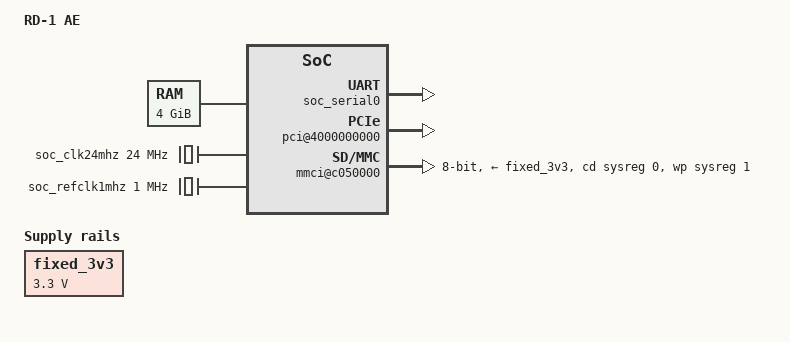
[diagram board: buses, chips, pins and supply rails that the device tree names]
/*
 * Copyright (c) 2024, Arm Limited. All rights reserved.
 *
 * SPDX-License-Identifier: BSD-3-Clause
 */

/dts-v1/;

#include <dt-bindings/interrupt-controller/arm-gic.h>

/ {
	model = "RD-1 AE";
	compatible = "arm,rd1ae", "arm,neoverse";
	interrupt-parent = <&gic>;
	#address-cells = <2>;
	#size-cells = <2>;

	chosen {
		stdout-path = &soc_serial0;
	};

	cpus {
		#address-cells = <2>;
		#size-cells = <0>;

		cpu0: cpu@0 {
			device_type = "cpu";
			compatible = "arm,neoverse-v3";
			reg = <0x0 0x0>;
			enable-method = "psci";
			i-cache-size = <0x10000>;
			i-cache-line-size = <0x40>;
			i-cache-sets = <0x100>;
			d-cache-size = <0x10000>;
			d-cache-line-size = <0x40>;
			d-cache-sets = <0x100>;
		};
		cpu1: cpu@10000 {
			device_type = "cpu";
			compatible = "arm,neoverse-v3";
			reg = <0x0 0x10000>;
			enable-method = "psci";
			i-cache-size = <0x10000>;
			i-cache-line-size = <0x40>;
			i-cache-sets = <0x100>;
			d-cache-size = <0x10000>;
			d-cache-line-size = <0x40>;
			d-cache-sets = <0x100>;
		};
		cpu2: cpu@20000 {
			device_type = "cpu";
			compatible = "arm,neoverse-v3";
			reg = <0x0 0x20000>;
			enable-method = "psci";
			i-cache-size = <0x10000>;
			i-cache-line-size = <0x40>;
			i-cache-sets = <0x100>;
			d-cache-size = <0x10000>;
			d-cache-line-size = <0x40>;
			d-cache-sets = <0x100>;
		};
		cpu3: cpu@30000 {
			device_type = "cpu";
			compatible = "arm,neoverse-v3";
			reg = <0x0 0x30000>;
			enable-method = "psci";
			i-cache-size = <0x10000>;
			i-cache-line-size = <0x40>;
			i-cache-sets = <0x100>;
			d-cache-size = <0x10000>;
			d-cache-line-size = <0x40>;
			d-cache-sets = <0x100>;
		};
		cpu4: cpu@40000 {
			device_type = "cpu";
			compatible = "arm,neoverse-v3";
			reg = <0x0 0x40000>;
			enable-method = "psci";
			i-cache-size = <0x10000>;
			i-cache-line-size = <0x40>;
			i-cache-sets = <0x100>;
			d-cache-size = <0x10000>;
			d-cache-line-size = <0x40>;
			d-cache-sets = <0x100>;
		};
		cpu5: cpu@50000 {
			device_type = "cpu";
			compatible = "arm,neoverse-v3";
			reg = <0x0 0x50000>;
			enable-method = "psci";
			i-cache-size = <0x10000>;
			i-cache-line-size = <0x40>;
			i-cache-sets = <0x100>;
			d-cache-size = <0x10000>;
			d-cache-line-size = <0x40>;
			d-cache-sets = <0x100>;
		};
		cpu6: cpu@60000 {
			device_type = "cpu";
			compatible = "arm,neoverse-v3";
			reg = <0x0 0x60000>;
			enable-method = "psci";
			i-cache-size = <0x10000>;
			i-cache-line-size = <0x40>;
			i-cache-sets = <0x100>;
			d-cache-size = <0x10000>;
			d-cache-line-size = <0x40>;
			d-cache-sets = <0x100>;
		};
		cpu7: cpu@70000 {
			device_type = "cpu";
			compatible = "arm,neoverse-v3";
			reg = <0x0 0x70000>;
			enable-method = "psci";
			i-cache-size = <0x10000>;
			i-cache-line-size = <0x40>;
			i-cache-sets = <0x100>;
			d-cache-size = <0x10000>;
			d-cache-line-size = <0x40>;
			d-cache-sets = <0x100>;
		};
		cpu8: cpu@80000 {
			device_type = "cpu";
			compatible = "arm,neoverse-v3";
			reg = <0x0 0x80000>;
			enable-method = "psci";
			i-cache-size = <0x10000>;
			i-cache-line-size = <0x40>;
			i-cache-sets = <0x100>;
			d-cache-size = <0x10000>;
			d-cache-line-size = <0x40>;
			d-cache-sets = <0x100>;
		};
		cpu9: cpu@90000 {
			device_type = "cpu";
			compatible = "arm,neoverse-v3";
			reg = <0x0 0x90000>;
			enable-method = "psci";
			i-cache-size = <0x10000>;
			i-cache-line-size = <0x40>;
			i-cache-sets = <0x100>;
			d-cache-size = <0x10000>;
			d-cache-line-size = <0x40>;
			d-cache-sets = <0x100>;
		};
		cpu10: cpu@a0000 {
			device_type = "cpu";
			compatible = "arm,neoverse-v3";
			reg = <0x0 0xa0000>;
			enable-method = "psci";
			i-cache-size = <0x10000>;
			i-cache-line-size = <0x40>;
			i-cache-sets = <0x100>;
			d-cache-size = <0x10000>;
			d-cache-line-size = <0x40>;
			d-cache-sets = <0x100>;
		};
		cpu11: cpu@b0000 {
			device_type = "cpu";
			compatible = "arm,neoverse-v3";
			reg = <0x0 0xb0000>;
			enable-method = "psci";
			i-cache-size = <0x10000>;
			i-cache-line-size = <0x40>;
			i-cache-sets = <0x100>;
			d-cache-size = <0x10000>;
			d-cache-line-size = <0x40>;
			d-cache-sets = <0x100>;
		};
		cpu12: cpu@c0000 {
			device_type = "cpu";
			compatible = "arm,neoverse-v3";
			reg = <0x0 0xc0000>;
			enable-method = "psci";
			i-cache-size = <0x10000>;
			i-cache-line-size = <0x40>;
			i-cache-sets = <0x100>;
			d-cache-size = <0x10000>;
			d-cache-line-size = <0x40>;
			d-cache-sets = <0x100>;
		};
		cpu13: cpu@d0000 {
			device_type = "cpu";
			compatible = "arm,neoverse-v3";
			reg = <0x0 0xd0000>;
			enable-method = "psci";
			i-cache-size = <0x10000>;
			i-cache-line-size = <0x40>;
			i-cache-sets = <0x100>;
			d-cache-size = <0x10000>;
			d-cache-line-size = <0x40>;
			d-cache-sets = <0x100>;
		};
		cpu14: cpu@e0000 {
			device_type = "cpu";
			compatible = "arm,neoverse-v3";
			reg = <0x0 0xe0000>;
			enable-method = "psci";
			i-cache-size = <0x10000>;
			i-cache-line-size = <0x40>;
			i-cache-sets = <0x100>;
			d-cache-size = <0x10000>;
			d-cache-line-size = <0x40>;
			d-cache-sets = <0x100>;
		};
		cpu15: cpu@f0000 {
			device_type = "cpu";
			compatible = "arm,neoverse-v3";
			reg = <0x0 0xf0000>;
			enable-method = "psci";
			i-cache-size = <0x10000>;
			i-cache-line-size = <0x40>;
			i-cache-sets = <0x100>;
			d-cache-size = <0x10000>;
			d-cache-line-size = <0x40>;
			d-cache-sets = <0x100>;
		};
	};

	memory@80000000 {
		device_type = "memory";
		/*
		 * 0x7fc0 0000 - 0x7fff ffff : BL32
		 * 0x7fbf 0000 - 0x7fbf ffff : FFA_SHARED_MM_BUF
		 */
		reg = <0x00000000 0x80000000 0 0x7fbf0000>,
			  <0x00000080 0x80000000 0 0x80000000>;
	};

	timer {
		compatible = "arm,armv8-timer";
		interrupts = <GIC_PPI 13 IRQ_TYPE_LEVEL_LOW>,
			<GIC_PPI 14 IRQ_TYPE_LEVEL_LOW>,
			<GIC_PPI 11 IRQ_TYPE_LEVEL_LOW>,
			<GIC_PPI 10 IRQ_TYPE_LEVEL_LOW>;
	};

	soc_clk24mhz: clk24mhz {
		compatible = "fixed-clock";
		#clock-cells = <0>;
		clock-frequency = <24000000>;
		clock-output-names = "refclk24mhz";
	};

	soc_refclk1mhz: refclk1mhz {
		compatible = "fixed-clock";
		#clock-cells = <0>;
		clock-frequency = <1000000>;
		clock-output-names = "refclk1mhz";
	};

	soc {
		compatible = "simple-bus";
		#address-cells = <2>;
		#size-cells = <2>;
		ranges;

		timer@2a810000 {
			compatible = "arm,armv7-timer-mem";
			reg = <0x0 0x2a810000 0 0x10000>;
			#address-cells = <2>;
			#size-cells = <2>;
			clock-frequency = <250000000>;
			ranges;

			frame@2a830000 {
				frame-number = <0>;
				interrupts = <GIC_SPI 77 IRQ_TYPE_LEVEL_HIGH>;
				reg = <0x0 0x2a830000 0x0 0x10000>;
			};
		};

		gic: interrupt-controller@30000000 {
			compatible = "arm,gic-v3";
			reg = <0x0 0x30000000 0 0x10000>,	// GICD
				  <0x0 0x301c0000 0 0x400000>;	// GICR
			#interrupt-cells = <3>;
			#address-cells = <2>;
			#size-cells = <2>;
			ranges;
			interrupt-controller;
			interrupts = <GIC_PPI 9 IRQ_TYPE_LEVEL_HIGH>;

			its1: msi-controller@30040000 {
				compatible = "arm,gic-v3-its";
				reg = <0x0 0x30040000 0x0 0x40000>;
				msi-controller;
				#msi-cells = <1>;
			};
			its2: msi-controller@30080000 {
				compatible = "arm,gic-v3-its";
				reg = <0x0 0x30080000 0x0 0x40000>;
				msi-controller;
				#msi-cells = <1>;
			};
			its3: msi-controller@300c0000 {
				compatible = "arm,gic-v3-its";
				reg = <0x0 0x300c0000 0x0 0x40000>;
				msi-controller;
				#msi-cells = <1>;
			};
			its4: msi-controller@30100000 {
				compatible = "arm,gic-v3-its";
				reg = <0x0 0x30100000 0x0 0x40000>;
				msi-controller;
				#msi-cells = <1>;
			};
			its5: msi-controller@30140000 {
				compatible = "arm,gic-v3-its";
				reg = <0x0 0x30140000 0x0 0x40000>;
				msi-controller;
				#msi-cells = <1>;
			};
			its6: msi-controller@30180000 {
				compatible = "arm,gic-v3-its";
				reg = <0x0 0x30180000 0x0 0x40000>;
				msi-controller;
				#msi-cells = <1>;
			};
		};

		soc_serial0: serial@2a400000 {
			compatible = "arm,pl011", "arm,primecell";
			reg = <0x0 0x2a400000 0x0 0x10000>;
			interrupts = <GIC_SPI 80 IRQ_TYPE_LEVEL_HIGH>;
			clocks = <&soc_clk24mhz>, <&soc_clk24mhz>;
			clock-names = "uartclk", "apb_pclk";
		};

		watchdog@2a440000 {
			compatible = "arm,sbsa-gwdt";
			reg = <0x0 0x2a440000 0 0x1000>,
				  <0x0 0x2a450000 0 0x1000>;
			interrupts = <GIC_SPI 78 IRQ_TYPE_LEVEL_HIGH>;
		};

		rtc@c170000 {
			compatible = "arm,pl031", "arm,primecell";
			reg = <0x0 0x0c170000 0x0 0x10000>;
			interrupts = <GIC_SPI 132 IRQ_TYPE_LEVEL_HIGH>;
			clocks = <&soc_clk24mhz>;
			clock-names = "apb_pclk";
		};

		virtio-net@c150000 {
			compatible = "virtio,mmio";
			reg = <0x0 0xc150000 0x0 0x200>;
			interrupts = <GIC_SPI 154 IRQ_TYPE_LEVEL_HIGH>;
		};

		virtio-block@c130000 {
			compatible = "virtio,mmio";
			reg = <0x0 0xc130000 0x0 0x200>;
			interrupts = <GIC_SPI 152 IRQ_TYPE_LEVEL_HIGH>;
		};

		virtio-rng@c140000 {
			compatible = "virtio,mmio";
			reg = <0x0 0xc140000 0x0 0x200>;
			interrupts = <GIC_SPI 156 IRQ_TYPE_LEVEL_HIGH>;
		};

		pci@4000000000 {
			#address-cells = <0x03>;
			#size-cells = <0x02>;
			compatible = "pci-host-ecam-generic";
			device_type = "pci";
			bus-range = <0x00 0x11>;
			reg = <0x40 0x00 0x00 0x04000000>;
			ranges = <0x43000000 0x40 0x40000000 0x40 0x40000000 0x10 0x00000000
				  0x02000000 0x00 0x60000000 0x00 0x60000000 0x00 0x08000000
				  0x01000000 0x00 0x00 0x00 0x77800000 0x00 0x800000>;
			msi-map = <0x00 &its1 0x40000 0x10000>;
			iommu-map = <0x00 &smmu 0x40000 0x10000>;
			dma-coherent;
		};

		smmu: iommu@280000000 {
			compatible = "arm,smmu-v3";
			reg = <0x2 0x80000000 0x0 0x100000>;
			dma-coherent;
			#iommu-cells = <1>;
			interrupts = <1 210 1>,
				     <1 211 1>,
				     <1 212 1>,
				     <1 213 1>;
			interrupt-names = "eventq", "priq", "cmdq-sync", "gerror";
			msi-parent = <&its1 0x10000>;
		};

		sysreg: sysreg@c010000 {
			compatible = "arm,vexpress-sysreg";
			reg = <0x0 0xc010000 0x0 0x1000>;
			gpio-controller;
			#gpio-cells = <2>;
		};

		fixed_3v3: v2m-3v3@c011000 {
			compatible = "regulator-fixed";
			reg = <0x0 0xc011000 0x0 0x1000>;
			regulator-name = "3V3";
			regulator-min-microvolt = <3300000>;
			regulator-max-microvolt = <3300000>;
			regulator-always-on;
		};

		mmci@c050000 {
			compatible = "arm,pl180", "arm,primecell";
			reg = <0x0 0xc050000 0x0 0x1000>;
			interrupts = <0 0x8B 0x4>,
				     <0 0x8C 0x4>;
			cd-gpios = <&sysreg 0 0>;
			wp-gpios = <&sysreg 1 0>;
			bus-width = <8>;
			max-frequency = <12000000>;
			vmmc-supply = <&fixed_3v3>;
			clocks = <&soc_clk24mhz>, <&soc_clk24mhz>;
			clock-names = "mclk", "apb_pclk";
		};

	};

	psci {
		compatible = "arm,psci-1.0", "arm,psci-0.2", "arm,psci";
		method = "smc";
		cpu_suspend = <0xc4000001>;
		cpu_off = <0x84000002>;
		cpu_on = <0xc4000003>;
	};

};
